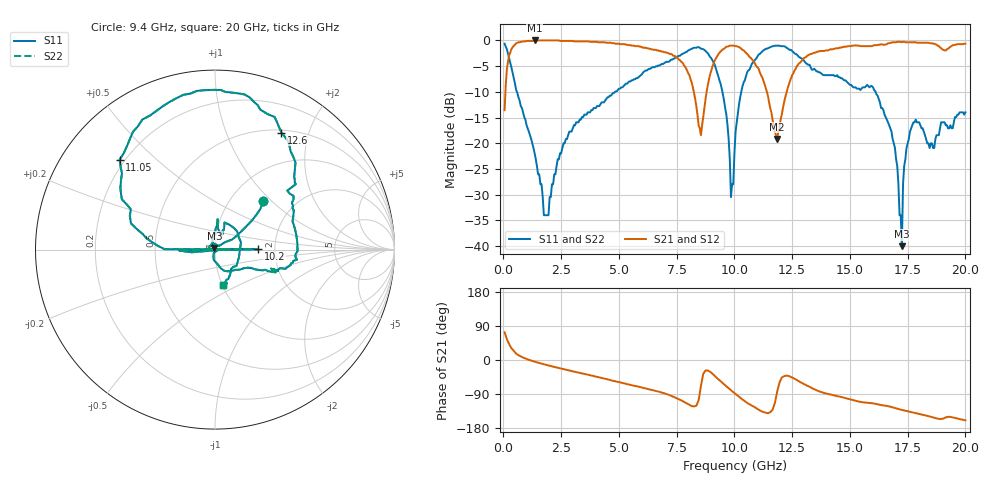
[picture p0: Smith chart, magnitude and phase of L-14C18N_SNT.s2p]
#	mhz	s	ma	r	50
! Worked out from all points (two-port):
!   400 points, 50 MHz to 20 GHz, reference 50 ohm
!   highest |S21| = 0.00 dB at 1.35 GHz (marker M1); lowest = -19.2 dB at 11.85 GHz (marker M2)
!   |S21| within 3 dB of the highest: 243.7 MHz to 7.41 GHz (7.167 GHz wide, 187 % of centre); 13.14 GHz to end of sweep (the widest 2 of 3)
!   lowest |S11| = -40.0 dB at 17.25 GHz (marker M3), VSWR 1.02, Z = 49.7 + j0.935 ohm
!   |S11| at or under -10 dB: 584.1 MHz to 4.831 GHz (4.247 GHz wide, 157 % of centre); 9.479 GHz to 10.3 GHz (816.6 MHz wide, 8.26 % of centre); 16.11 GHz to end of sweep
!   |S22| runs from -40.0 to -0.6 dB; largest |S21 - S12| = 0
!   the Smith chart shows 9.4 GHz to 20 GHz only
!   S11 on the Smith chart (normalised r, x): 9.4 GHz: 1.41, +0.89; 10.2 GHz: 1.63, +0.01; 11.05 GHz: 0.18, +0.39; 12.6 GHz: 0.53, +1.59; 20 GHz: 1.01, -0.41
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50  0.93 167.0  0.21 73.2  0.21 73.2  0.93 167.0
1350  0.08 72.2  1 -4.5  1 -4.5  0.08 72.2
1950  0.02 -45.7  1 -14.3  1 -14.3  0.02 -45.7
3400  0.18 -120.5  0.98 -35.4  0.98 -35.4  0.18 -120.5
6700  0.57 -174.8  0.8 -83.3  0.8 -83.3  0.57 -174.8
6850  0.59 -178.6  0.78 -86.0  0.78 -86.0  0.59 -178.6
6900  0.59 0.6  0.78 -86.8  0.78 -86.8  0.59 0.6
6950  0.6 179.9  0.77 -87.6  0.77 -87.6  0.6 179.9
7050  0.62 176.5  0.76 -89.9  0.76 -89.9  0.62 176.5
8550  0.83 103.3  0.12 -68.6  0.12 -68.6  0.83 103.3
9400  0.38 45.2  0.78 -55.8  0.78 -55.8  0.38 45.2
9850  0.03 42.6  0.89 -79.7  0.89 -79.7  0.03 42.6
10050  0.13 -173.4  0.88 -89.8  0.88 -89.8  0.13 -173.4
10200  0.24 0.5  0.86 -96.9  0.86 -96.9  0.24 0.5
11050  0.73 136.7  0.53 -131.2  0.53 -131.2  0.73 136.7
11850  0.89 92.3  0.11 -83.7  0.11 -83.7  0.89 92.3
12600  0.75 60.4  0.51 -49.5  0.51 -49.5  0.75 60.4
13350  0.52 39.2  0.74 -74.2  0.74 -74.2  0.52 39.2
16700  0.15 -52.3  0.94 -122.5  0.94 -122.5  0.15 -52.3
17250  0.01 109.7  0.96 -131.6  0.96 -131.6  0.01 109.7
17750  0.16 83.9  0.96 -138.7  0.96 -138.7  0.16 83.9
20000  0.2 -77.4  0.93 -159.1  0.93 -159.1  0.2 -77.4
